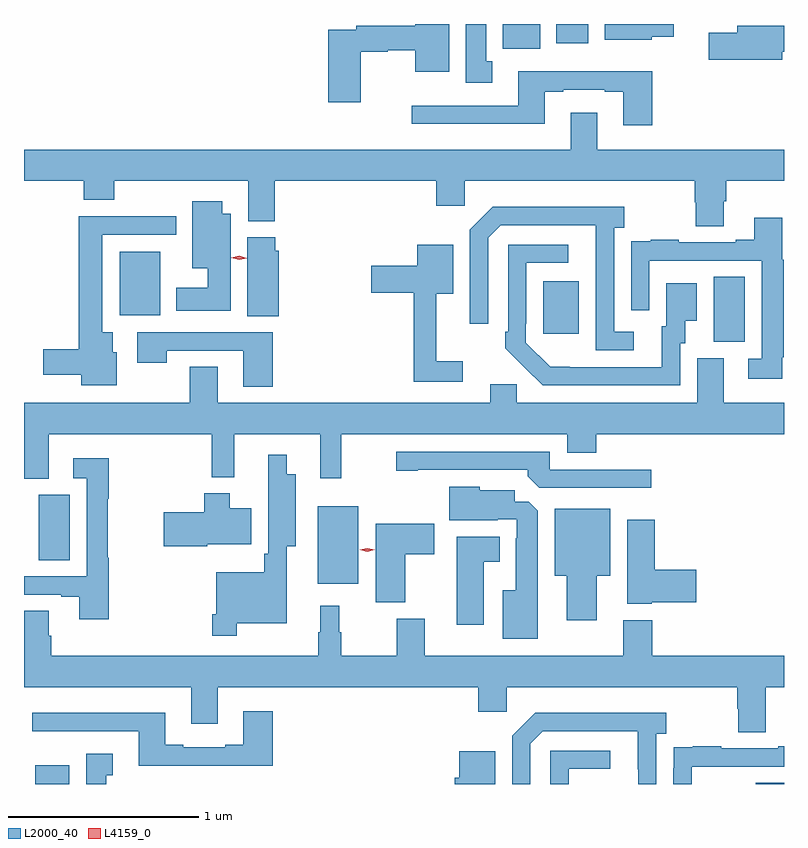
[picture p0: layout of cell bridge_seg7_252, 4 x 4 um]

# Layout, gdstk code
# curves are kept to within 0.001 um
import gdstk
lib = gdstk.Library(unit=1e-6, precision=1e-09)
def R(c, l, rs):  # rectangles x0, y0, x1, y1
    for r in rs: c.add(gdstk.rectangle(r[:2], r[2:], *l))
def P(c, l, *ps):  # polygons
    for p in ps: c.add(gdstk.Polygon(p, *l))
L2000_40 = (2000, 40)
L4159_0 = (4159, 0)

bridge_seg7_252 = lib.new_cell('bridge_seg7_252')
R(bridge_seg7_252, L2000_40, [(172.67,1036.07,172.849,1036.168), (176.462,1036.07,176.61,1036.076), (174.155,1037.123,174.37,1037.533), (172.688,1037.248,172.852,1037.592), (176.24,1038.397,176.404,1038.74), (175.343,1038.441,175.531,1038.715), (173.114,1038.536,173.326,1038.871), (175.13,1039.94,175.327,1040.07), (175.412,1039.968,175.579,1040.07)])
P(bridge_seg7_252, L2000_40, [(175.075,1039.874),(175.042,1039.874),(175.042,1040.07),(174.935,1040.07),(174.935,1039.761),(175.075,1039.761)],
  [(174.382,1039.924),(174.525,1039.924),(174.525,1039.932),(174.668,1039.932),(174.668,1039.82),(174.847,1039.82),(174.847,1040.07),(174.668,1040.07),(174.668,1040.06),(174.358,1040.06),(174.358,1040.04),(174.212,1040.04),(174.212,1039.659),(174.382,1039.659)],
  [(175.914,1040.003),(176.029,1040.003),(176.029,1040.07),(175.667,1040.07),(175.667,1039.988),(175.914,1039.988)],
  [(176.602,1039.924),(176.61,1039.924),(176.61,1040.06),(176.363,1040.06),(176.363,1040.024),(176.214,1040.024),(176.214,1039.882),(176.602,1039.882)],
  [(175.916,1039.822),(175.211,1039.822),(175.211,1039.641),(174.651,1039.641),(174.651,1039.544),(175.351,1039.544),(175.351,1039.713),(175.447,1039.713),(175.447,1039.725),(175.667,1039.725),(175.667,1039.713),(175.763,1039.713),(175.763,1039.536),(175.916,1039.536)],
  [(176.293,1039.138),(176.306,1039.138),(176.306,1039.244),(176.61,1039.244),(176.61,1039.408),(175.627,1039.408),(175.627,1039.603),(175.487,1039.603),(175.487,1039.408),(172.61,1039.408),(172.61,1039.244),(172.925,1039.244),(172.925,1039.145),(173.085,1039.145),(173.085,1039.244),(173.789,1039.244),(173.789,1039.033),(173.93,1039.033),(173.93,1039.244),(174.779,1039.244),(174.779,1039.113),(174.93,1039.113),(174.93,1039.244),(176.141,1039.244),(176.141,1039.131),(176.146,1039.131),(176.146,1039.006),(176.293,1039.006)],
  [(173.698,1039.072),(173.653,1039.072),(173.653,1039.138),(173.495,1039.138),(173.495,1038.785),(173.576,1038.785),(173.576,1038.682),(173.411,1038.682),(173.411,1038.56),(173.698,1038.56)],
  [(175.819,1038.45),(175.716,1038.45),(175.716,1038.998),(175.768,1038.998),(175.768,1039.108),(175.078,1039.108),(174.957,1038.987),(174.957,1038.492),(175.053,1038.492),(175.053,1038.945),(175.119,1039.011),(175.619,1039.011),(175.62,1038.354),(175.819,1038.354)],
  [(173.098,1038.342),(173.077,1038.342),(173.077,1038.448),(173.023,1038.448),(173.023,1038.96),(173.41,1038.96),(173.41,1039.058),(172.898,1039.058),(172.898,1038.359),(172.71,1038.359),(172.71,1038.224),(172.91,1038.224),(172.91,1038.17),(173.098,1038.17)],
  [(176.602,1038.316),(176.609,1038.316),(176.609,1038.828),(176.602,1038.828),(176.602,1039.051),(176.453,1039.051),(176.453,1038.934),(176.357,1038.934),(176.357,1038.921),(176.057,1038.921),(176.057,1038.934),(175.909,1038.934),(175.909,1038.927),(175.807,1038.927),(175.807,1038.818),(175.806,1038.818),(175.806,1038.564),(175.902,1038.564),(175.902,1038.825),(176.493,1038.825),(176.493,1038.309),(176.421,1038.309),(176.421,1038.204),(176.602,1038.204)],
  [(173.952,1038.876),(173.933,1038.876),(173.933,1038.948),(173.786,1038.948),(173.786,1038.532),(173.952,1038.532)],
  [(176.064,1038.39),(176.089,1038.39),(176.089,1038.509),(176.152,1038.509),(176.152,1038.706),(175.991,1038.706),(175.991,1038.48),(175.967,1038.48),(175.967,1038.264),(175.38,1038.265),(175.251,1038.393),(175.251,1038.493),(175.254,1038.493),(175.254,1038.813),(175.474,1038.813),(175.474,1038.909),(175.158,1038.909),(175.158,1038.451),(175.143,1038.451),(175.143,1038.363),(175.34,1038.168),(176.064,1038.168)],
  [(174.919,1038.295),(174.779,1038.295),(174.779,1038.65),(174.868,1038.65),(174.868,1038.907),(174.68,1038.907),(174.68,1038.798),(174.438,1038.798),(174.438,1038.656),(174.661,1038.656),(174.661,1038.186),(174.919,1038.186)],
  [(173.918,1038.447),(173.205,1038.447),(173.205,1038.288),(173.361,1038.288),(173.361,1038.351),(173.765,1038.351),(173.765,1038.162),(173.918,1038.162)],
  [(172.61,1037.677),(172.741,1037.677),(172.741,1037.912),(173.599,1037.912),(173.599,1037.684),(173.717,1037.684),(173.717,1037.912),(174.17,1037.912),(174.17,1037.679),(174.28,1037.679),(174.28,1037.912),(175.469,1037.912),(175.469,1037.813),(175.622,1037.813),(175.622,1037.912),(176.61,1037.912),(176.61,1038.076),(176.293,1038.076),(176.293,1038.312),(176.153,1038.312),(176.153,1038.076),(175.203,1038.076),(175.203,1038.174),(175.064,1038.174),(175.064,1038.076),(173.629,1038.076),(173.629,1038.266),(173.482,1038.266),(173.482,1038.076),(172.61,1038.076)],
  [(175.912,1037.724),(175.377,1037.724),(175.377,1037.82),(174.57,1037.82),(174.57,1037.719),(174.682,1037.719),(174.682,1037.724),(175.262,1037.724),(175.262,1037.69),(175.323,1037.628),(175.912,1037.628)],
  [(173.731,1036.916),(173.992,1036.916),(173.992,1037.321),(174.04,1037.321),(174.04,1037.701),(173.993,1037.701),(173.993,1037.803),(173.895,1037.803),(173.895,1037.281),(173.875,1037.281),(173.875,1037.185),(173.622,1037.185),(173.622,1036.963),(173.602,1036.963),(173.602,1036.851),(173.731,1036.851)],
  [(173.057,1037.26),(173.05,1037.26),(173.05,1037.572),(173.057,1037.572),(173.057,1037.785),(172.869,1037.785),(172.869,1037.679),(172.941,1037.679),(172.941,1037.163),(172.61,1037.163),(172.61,1037.067),(172.805,1037.067),(172.805,1037.055),(172.901,1037.055),(172.901,1036.938),(173.057,1036.938)],
  [(175.315,1037.507),(175.266,1037.556),(175.192,1037.556),(175.192,1037.617),(175.008,1037.617),(175.008,1037.635),(174.848,1037.635),(174.848,1037.459),(175.103,1037.459),(175.103,1037.463),(175.203,1037.463),(175.203,1037.363),(175.199,1037.363),(175.199,1037.089),(175.13,1037.089),(175.13,1036.835),(175.315,1036.835)],
  [(173.574,1037.333),(173.806,1037.333),(173.806,1037.521),(173.692,1037.521),(173.692,1037.599),(173.558,1037.599),(173.558,1037.499),(173.346,1037.499),(173.346,1037.321),(173.574,1037.321)],
  [(175.624,1037.165),(175.696,1037.165),(175.696,1037.518),(175.403,1037.518),(175.403,1037.165),(175.466,1037.165),(175.466,1036.932),(175.624,1036.932)],
  [(175.914,1037.027),(176.149,1037.027),(176.149,1037.198),(175.931,1037.198),(175.931,1037.461),(175.784,1037.461),(175.784,1037.018),(175.914,1037.018)],
  [(174.616,1037.278),(174.769,1037.278),(174.769,1037.44),(174.461,1037.44),(174.461,1037.027),(174.616,1037.027)],
  [(175.03,1037.24),(175.114,1037.24),(175.114,1037.371),(174.887,1037.371),(174.887,1036.908),(175.03,1036.908)],
  [(176.515,1036.58),(176.61,1036.58),(176.61,1036.744),(175.916,1036.744),(175.916,1036.933),(175.763,1036.933),(175.763,1036.744),(174.718,1036.744),(174.718,1036.939),(174.571,1036.939),(174.571,1036.744),(174.28,1036.744),(174.28,1036.868),(174.269,1036.868),(174.269,1037.007),(174.17,1037.007),(174.17,1036.868),(174.159,1036.868),(174.159,1036.744),(172.754,1036.744),(172.754,1036.85),(172.741,1036.85),(172.741,1036.982),(172.61,1036.982),(172.61,1036.58),(173.489,1036.58),(173.489,1036.386),(173.629,1036.386),(173.629,1036.58),(175.001,1036.58),(175.001,1036.449),(175.152,1036.449),(175.152,1036.58),(176.363,1036.58),(176.363,1036.467),(176.368,1036.467),(176.368,1036.342),(176.515,1036.342)],
  [(173.918,1036.453),(173.765,1036.453),(173.765,1036.276),(173.669,1036.276),(173.669,1036.263),(173.449,1036.263),(173.449,1036.276),(173.353,1036.276),(173.353,1036.444),(172.653,1036.444),(172.653,1036.347),(173.213,1036.347),(173.213,1036.166),(173.918,1036.166)],
  [(175.275,1036.281),(175.341,1036.347),(175.841,1036.347),(175.842,1036.07),(175.938,1036.07),(175.938,1036.334),(175.99,1036.334),(175.99,1036.444),(175.3,1036.444),(175.179,1036.323),(175.179,1036.07),(175.275,1036.07)],
  [(176.124,1036.161),(176.61,1036.161),(176.61,1036.27),(176.579,1036.27),(176.579,1036.257),(176.279,1036.257),(176.279,1036.27),(176.131,1036.27),(176.131,1036.263),(176.029,1036.263),(176.029,1036.154),(176.028,1036.154),(176.028,1036.07),(176.124,1036.07)],
  [(175.476,1036.149),(175.696,1036.149),(175.696,1036.245),(175.38,1036.245),(175.38,1036.07),(175.476,1036.07)],
  [(175.09,1036.243),(174.902,1036.243),(174.902,1036.104),(174.878,1036.104),(174.878,1036.07),(175.09,1036.07)],
  [(173.044,1036.115),(173.077,1036.115),(173.077,1036.228),(172.937,1036.228),(172.937,1036.07),(173.044,1036.07)])
P(bridge_seg7_252, L4159_0, [(174.416,1037.292),(174.376,1037.303),(174.376,1037.303),(174.376,1037.303),(174.416,1037.312),(174.456,1037.302),(174.456,1037.302),(174.456,1037.302)],
  [(173.742,1038.829),(173.702,1038.841),(173.702,1038.841),(173.702,1038.841),(173.742,1038.849),(173.782,1038.838),(173.782,1038.838),(173.782,1038.838)])

lib.write_gds('bridge_seg7_252.gds')
